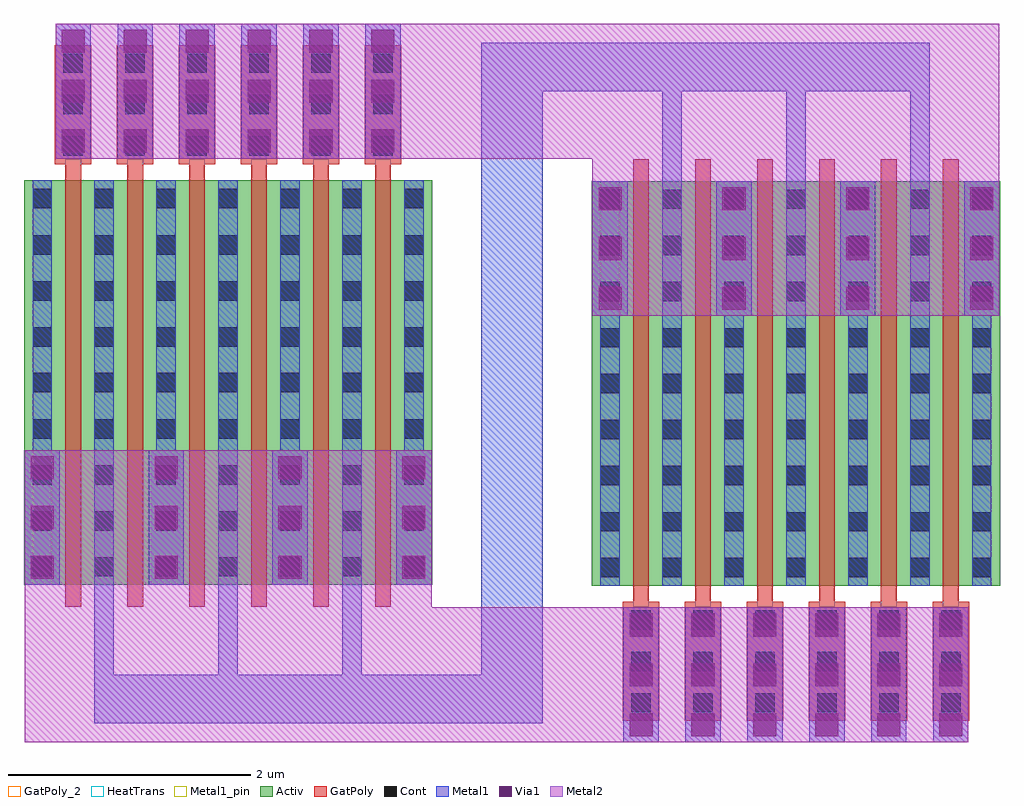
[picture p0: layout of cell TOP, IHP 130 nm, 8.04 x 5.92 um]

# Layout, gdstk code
import gdstk
lib = gdstk.Library(unit=1e-6, precision=1e-09)
def R(c, l, rs):  # rectangles x0, y0, x1, y1
    for r in rs: c.add(gdstk.rectangle(r[:2], r[2:], *l))
def A(c, l, x, y, w, h, nx, ny, dx, dy):  # array of equal rectangles
    R(c, l, [(x+i*dx, y+j*dy, x+i*dx+w, y+j*dy+h) for i in range(nx) for j in range(ny)])
def P(c, l, *ps):  # polygons
    for p in ps: c.add(gdstk.Polygon(p, *l))
Activ = (1, 0)
GatPoly = (5, 0)
GatPoly_2 = (5, 2)
Cont = (6, 0)
Metal1 = (8, 0)
Metal1_pin = (8, 2)
Metal2 = (10, 0)
Via1 = (19, 0)
HeatTrans = (51, 0)

nmos_1 = lib.new_cell('nmos$1')
A(nmos_1, Activ, 0, 0, 0.3, 0.3, 7, 1, 0.51, 0)
R(nmos_1, Activ, [(0,0,3.36,3.33)])
A(nmos_1, GatPoly, 0.34, -0.18, 0.13, 3.69, 6, 1, 0.51, 0)
R(nmos_1, GatPoly_2, [(0.34,-0.18,0.47,3.51)])
A(nmos_1, Cont, 0.07, 0.07, 0.16, 0.16, 7, 2, 0.51, 0.375)
A(nmos_1, Cont, 0.07, 0.825, 0.16, 0.16, 7, 3, 0.51, 0.38)
A(nmos_1, Cont, 0.07, 1.96, 0.16, 0.16, 7, 4, 0.51, 0.38)
A(nmos_1, Metal1, 0.07, 0, 0.16, 3.33, 7, 1, 0.51, 0)
R(nmos_1, Metal1_pin, [(0.07,0,0.23,3.33), (0.58,0,0.74,3.33)])
A(nmos_1, HeatTrans, 0.34, -0.18, 0.13, 3.69, 6, 1, 0.51, 0)
nmos_1.add(gdstk.Label('nmos', (0.405,1.665), layer=63, texttype=0))
nmos_1.add(gdstk.Label('nmos', (0.405,1.665), layer=51, texttype=0))
nmos_1.add(gdstk.Label('nmos', (0.915,1.665), layer=51, texttype=0))
nmos_1.add(gdstk.Label('nmos', (1.425,1.665), layer=51, texttype=0))
nmos_1.add(gdstk.Label('nmos', (1.935,1.665), layer=51, texttype=0))
nmos_1.add(gdstk.Label('nmos', (2.445,1.665), layer=51, texttype=0))
nmos_1.add(gdstk.Label('nmos', (2.955,1.665), layer=51, texttype=0))

via_stack = lib.new_cell('via_stack')
R(via_stack, Metal1, [(-0.145,-0.555,0.145,0.555)])
R(via_stack, Metal2, [(-0.145,-0.555,0.145,0.555)])
A(via_stack, Via1, -0.095, -0.505, 0.19, 0.19, 1, 3, 0, 0.41)

top = lib.new_cell('TOP')
A(top, GatPoly, 2.605, -1.145, 0.3, 0.98, 6, 1, 0.51, 0)
A(top, GatPoly, -2.07, 3.44, 0.3, 0.98, 6, 1, 0.51, 0)
A(top, Cont, 3.185, -1.075, 0.16, 0.16, 1, 3, 0, 0.34)
A(top, Cont, 3.185, -1.075, 0.16, 0.16, 5, 3, 0.51, 0.34)
A(top, Cont, -2, 3.51, 0.16, 0.16, 6, 3, 0.51, 0.34)
R(top, Cont, [(2.675,-1.075,2.835,-0.915), (2.675,-1.075,2.835,-0.915), (2.675,-0.735,2.835,-0.575), (2.675,-0.735,2.835,-0.575), (2.675,-0.395,2.835,-0.235), (2.675,-0.395,2.835,-0.235)])
P(top, Metal1, [(-1.745,-1.165),(-1.745,-0.025),(-1.585,-0.025),(-1.585,-0.765),(-0.725,-0.765),(-0.725,-0.025),(-0.565,-0.025),(-0.565,-0.765),(0.295,-0.765),(0.295,-0.025),(0.455,-0.025),(0.455,-0.765),(1.44,-0.765),(1.44,4.44),(1.945,4.44),(2.93,4.44),(3.09,4.44),(3.95,4.44),(4.11,4.44),(4.97,4.44),(5.13,4.44),(5.13,3.3),(4.97,3.3),(4.97,4.04),(4.11,4.04),(4.11,3.3),(3.95,3.3),(3.95,4.04),(3.09,4.04),(3.09,3.3),(2.93,3.3),(2.93,4.04),(1.945,4.04),(1.945,-1.165)])
P(top, Metal2, [(-2.32,-1.32),(-2.32,1.085),(1.03,1.085),(1.03,-0.21),(5.45,-0.21),(5.45,-1.32),(-2.265,-1.32)],
  [(2.355,2.19),(2.355,3.485),(-2.065,3.485),(-2.065,4.595),(5.65,4.595),(5.705,4.595),(5.705,2.19)])
top.add(gdstk.Reference(nmos_1, (-2.325,-0.025)))
top.add(gdstk.Reference(nmos_1, (2.35,-0.03)))
top.add(gdstk.Reference(via_stack, (-2.175,0.53)))
top.add(gdstk.Reference(via_stack, (-1.155,0.53)))
top.add(gdstk.Reference(via_stack, (-0.135,0.53)))
top.add(gdstk.Reference(via_stack, (0.885,0.53)))
top.add(gdstk.Reference(via_stack, (2.5,2.745)))
top.add(gdstk.Reference(via_stack, (3.52,2.745)))
top.add(gdstk.Reference(via_stack, (4.54,2.745)))
top.add(gdstk.Reference(via_stack, (5.56,2.745)))
top.add(gdstk.Reference(via_stack, (2.5,2.745)))
top.add(gdstk.Reference(via_stack, (2.755,-0.765)))
top.add(gdstk.Reference(via_stack, (3.265,-0.765)))
top.add(gdstk.Reference(via_stack, (2.755,-0.765)))
top.add(gdstk.Reference(via_stack, (4.285,-0.765)))
top.add(gdstk.Reference(via_stack, (3.775,-0.765)))
top.add(gdstk.Reference(via_stack, (5.305,-0.765)))
top.add(gdstk.Reference(via_stack, (4.795,-0.765)))
top.add(gdstk.Reference(via_stack, (-1.41,4.04)))
top.add(gdstk.Reference(via_stack, (-1.92,4.04)))
top.add(gdstk.Reference(via_stack, (-0.39,4.04)))
top.add(gdstk.Reference(via_stack, (-0.9,4.04)))
top.add(gdstk.Reference(via_stack, (0.63,4.04)))
top.add(gdstk.Reference(via_stack, (0.12,4.04)))

lib.write_gds('TOP.gds')
